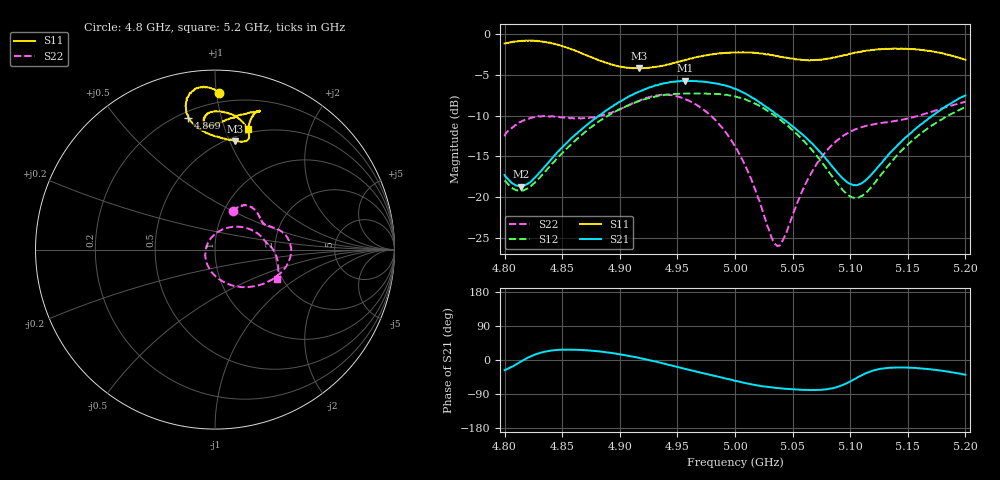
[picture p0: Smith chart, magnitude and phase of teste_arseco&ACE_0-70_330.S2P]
! Network Analyzer HP8722D
! Hewlett-Packard
! Data name: Linha & Wilkinson
! Saver's name: Rodrigo Anjos
! Comments: Teste da utilização de aquisição
! continua pelo VNA HP8722D
! Time and date: 8/5/2025 15:30
!  Frequency  S11  S21  S12  S22
# HZ  S  MA R 50
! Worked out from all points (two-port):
!   401 points, 4.8 GHz to 5.2 GHz, reference 50 ohm
!   highest |S21| = -5.73 dB at 4.957 GHz (marker M1); lowest = -18.7 dB at 4.814 GHz (marker M2)
!   |S21| within 3 dB of the highest: 4.895 GHz to 5.025 GHz (130.1 MHz wide, 2.62 % of centre); 5.184659 GHz to end of sweep
!   lowest |S11| = -4.2 dB at 4.917 GHz (marker M3), VSWR 4.19, Z = 27 + j52.5 ohm
!   |S11| at or under -10 dB: nowhere
!   |S22| runs from -26.0 to -7.4 dB; largest |S21 - S12| = 0.89
!   S11 on the Smith chart (normalised r, x): 4.8 GHz: 0.14, +1.02; 4.869 GHz: 0.24, +0.79; 5.2 GHz: 0.46, +1.20
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4.8e9  0.8733 88.5  0.1368 -26.8  0.1269 100.6  0.2359 64.4
4.814e9  0.9032 92.5  0.1162 -4.4  0.1096 120.3  0.2886 58.3
4.845e9  0.8616 100.3  0.1853 26.3  0.1712 150.2  0.3106 39.7
4.867e9  0.7602 101.4  0.2611 26.2  0.2408 153.4  0.3039 30.3
4.869e9  0.7498 101.4  0.2683 26.0  0.2477 153.3  0.3046 29.6
4.894e9  0.6456 93.0  0.3606 18.1  0.329 148.1  0.3328 23.0
4.917e9  0.6147 79.4  0.4436 5.1  0.3885 138.8  0.39 13.9
4.934e9  0.6324 73.7  0.4886 -6.4  0.4189 129.4  0.4216 2.7
4.957e9  0.6927 74.9  0.5169 -23.4  0.431 114.8  0.3983 -16.5
4.981e9  0.7495 81.2  0.4993 -41.1  0.43 99.6  0.3056 -41.4
5e9  0.7707 87.5  0.461 -54.9  0.4149 86.4  0.2046 -69.1
5.019e9  0.7625 92.4  0.3911 -67.0  0.3688 73.1  0.1042 -110.3
5.031e9  0.742 94.2  0.342 -72.0  0.3285 66.5  0.05855 -156.9
5.037e9  0.7302 94.9  0.3189 -74.0  0.3065 64.0  0.05016 164.7
5.043e9  0.7165 94.9  0.2964 -75.7  0.2838 61.7  0.05742 127.3
5.067e9  0.6907 92.8  0.2134 -79.1  0.1936 57.9  0.1436 58.6
5.083e9  0.7076 87.6  0.1585 -75.6  0.1383 63.2  0.2047 37.2
5.103e9  0.7626 79.3  0.1183 -51.7  0.09937 90.6  0.2576 19.6
5.113e9  0.7866 75.9  0.126 -35.8  0.1057 108.4  0.2723 13.9
5.134e9  0.8105 72.2  0.1843 -20.5  0.1591 125.8  0.2895 7.4
5.17e9  0.7851 74.0  0.3095 -24.7  0.2719 120.5  0.3324 -2.4
5.2e9  0.6942 74.7  0.4192 -38.9  0.3565 108.9  0.3836 -25.7
